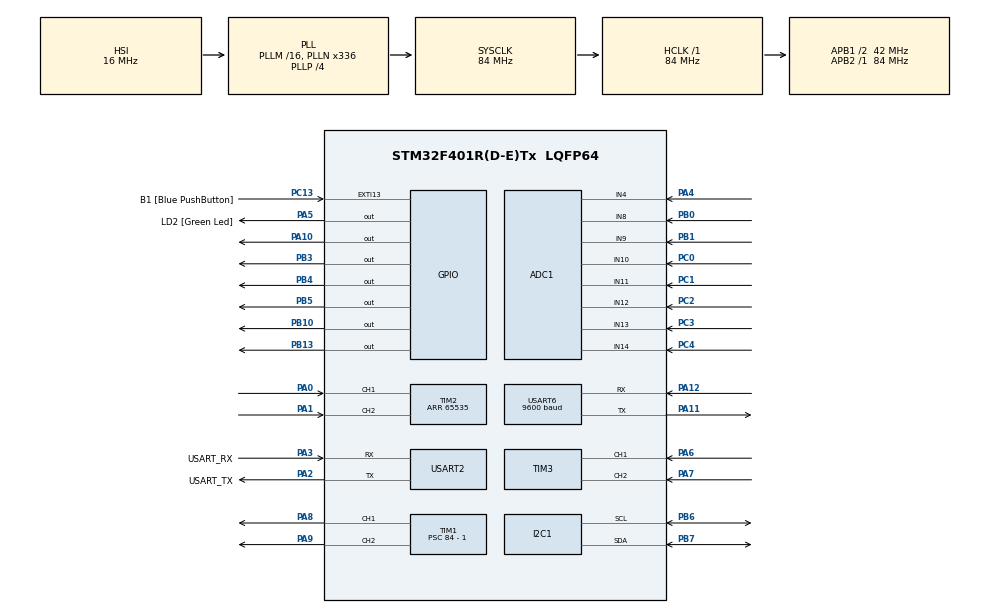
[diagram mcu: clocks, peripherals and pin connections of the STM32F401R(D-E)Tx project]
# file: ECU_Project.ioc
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ADC1.Channel-2\#ChannelRegularConversion=ADC_CHANNEL_12
ADC1.Channel-3\#ChannelRegularConversion=ADC_CHANNEL_13
ADC1.Channel-4\#ChannelRegularConversion=ADC_CHANNEL_10
ADC1.Channel-5\#ChannelRegularConversion=ADC_CHANNEL_11
ADC1.Channel-6\#ChannelRegularConversion=ADC_CHANNEL_8
ADC1.Channel-7\#ChannelRegularConversion=ADC_CHANNEL_4
ADC1.Channel-8\#ChannelRegularConversion=ADC_CHANNEL_14
ADC1.Channel-9\#ChannelRegularConversion=ADC_CHANNEL_9
ADC1.ContinuousConvMode=ENABLE
ADC1.DMAContinuousRequests=DISABLE
ADC1.DiscontinuousConvMode=DISABLE
ADC1.InjNumberOfConversion=0
ADC1.NbrOfConversion=8
ADC1.NbrOfConversionFlag=1
ADC1.Rank-2\#ChannelRegularConversion=1
ADC1.Rank-3\#ChannelRegularConversion=2
ADC1.Rank-4\#ChannelRegularConversion=3
ADC1.Rank-5\#ChannelRegularConversion=4
ADC1.Rank-6\#ChannelRegularConversion=5
ADC1.Rank-7\#ChannelRegularConversion=6
ADC1.Rank-8\#ChannelRegularConversion=7
ADC1.Rank-9\#ChannelRegularConversion=8
ADC1.SamplingTime-2\#ChannelRegularConversion=ADC_SAMPLETIME_3CYCLES
ADC1.SamplingTime-3\#ChannelRegularConversion=ADC_SAMPLETIME_3CYCLES
ADC1.SamplingTime-4\#ChannelRegularConversion=ADC_SAMPLETIME_3CYCLES
ADC1.SamplingTime-5\#ChannelRegularConversion=ADC_SAMPLETIME_3CYCLES
ADC1.SamplingTime-6\#ChannelRegularConversion=ADC_SAMPLETIME_3CYCLES
ADC1.SamplingTime-7\#ChannelRegularConversion=ADC_SAMPLETIME_3CYCLES
ADC1.SamplingTime-8\#ChannelRegularConversion=ADC_SAMPLETIME_3CYCLES
ADC1.SamplingTime-9\#ChannelRegularConversion=ADC_SAMPLETIME_3CYCLES
ADC1.ScanConvMode=ENABLE
ADC1.master=1
Dma.ADC1.0.Direction=DMA_PERIPH_TO_MEMORY
Dma.ADC1.0.FIFOMode=DMA_FIFOMODE_DISABLE
Dma.ADC1.0.Instance=DMA2_Stream0
Dma.ADC1.0.MemDataAlignment=DMA_MDATAALIGN_HALFWORD
Dma.ADC1.0.MemInc=DMA_MINC_ENABLE
Dma.ADC1.0.Mode=DMA_CIRCULAR
Dma.ADC1.0.PeriphDataAlignment=DMA_PDATAALIGN_HALFWORD
Dma.ADC1.0.PeriphInc=DMA_PINC_DISABLE
Dma.ADC1.0.Priority=DMA_PRIORITY_LOW
Dma.Request0=ADC1
FREERTOS.Tasks01=defaultTask,24,128,StartDefaultTask,Default,NULL,Dynamic,NULL,NULL
FREERTOS.configUSE_NEWLIB_REENTRANT=1
IWDG.Prescaler=IWDG_PRESCALER_32
IWDG.Reload=500
Mcu.Family=STM32F4
Mcu.Name=STM32F401R(D-E)Tx
Mcu.Package=LQFP64
NVIC.DMA2_Stream0_IRQn=true\:5\:0\:false\:false\:true\:true\:false\:true\:true
NVIC.EXTI15_10_IRQn=true\:5\:0\:false\:false\:true\:true\:true\:true\:true
NVIC.PriorityGroup=NVIC_PRIORITYGROUP_4
NVIC.TIM5_IRQn=true\:15\:0\:false\:false\:true\:false\:false\:true\:true
NVIC.TimeBase=TIM5_IRQn
NVIC.TimeBaseIP=TIM5
PA0-WKUP.Signal=S_TIM2_CH1_ETR
PA1.Signal=S_TIM2_CH2
PA10.Signal=GPIO_Output
PA11.Mode=Asynchronous
PA11.Signal=USART6_TX
PA12.Mode=Asynchronous
PA12.Signal=USART6_RX
PA13.GPIO_Label=TMS
PA13.Mode=Serial_Wire
PA13.Signal=SYS_JTMS-SWDIO
PA14.GPIO_Label=TCK
PA14.Mode=Serial_Wire
PA14.Signal=SYS_JTCK-SWCLK
PA2.GPIO_Label=USART_TX
PA2.GPIO_Mode=GPIO_MODE_AF_PP
PA2.GPIO_PuPd=GPIO_NOPULL
PA2.GPIO_Speed=GPIO_SPEED_FREQ_LOW
PA2.Mode=Asynchronous
PA2.Signal=USART2_TX
PA3.GPIO_Label=USART_RX
PA3.GPIO_Mode=GPIO_MODE_AF_PP
PA3.GPIO_PuPd=GPIO_NOPULL
PA3.GPIO_Speed=GPIO_SPEED_FREQ_LOW
PA3.Mode=Asynchronous
PA3.Signal=USART2_RX
PA4.Signal=ADCx_IN4
PA5.GPIO_Label=LD2 [Green Led]
PA5.GPIO_Mode=GPIO_MODE_OUTPUT_PP
PA5.GPIO_PuPd=GPIO_NOPULL
PA5.GPIO_Speed=GPIO_SPEED_FREQ_LOW
PA5.Signal=GPIO_Output
PA6.Signal=S_TIM3_CH1
PA7.Signal=S_TIM3_CH2
PA8.Signal=S_TIM1_CH1
PA9.Signal=S_TIM1_CH2
PB0.Signal=ADCx_IN8
PB1.Signal=ADCx_IN9
PB10.Signal=GPIO_Output
PB13.Signal=GPIO_Output
PB3.Signal=GPIO_Output
PB4.Signal=GPIO_Output
PB5.Signal=GPIO_Output
PB6.Mode=I2C
PB6.Signal=I2C1_SCL
PB7.Mode=I2C
PB7.Signal=I2C1_SDA
PC0.Signal=ADCx_IN10
PC1.Signal=ADCx_IN11
PC13-ANTI_TAMP.GPIO_Label=B1 [Blue PushButton]
PC13-ANTI_TAMP.GPIO_ModeDefaultEXTI=GPIO_MODE_IT_FALLING
PC13-ANTI_TAMP.GPIO_PuPd=GPIO_NOPULL
PC13-ANTI_TAMP.Signal=GPXTI13
PC14-OSC32_IN.Mode=LSE-External-Oscillator
PC14-OSC32_IN.Signal=RCC_OSC32_IN
PC15-OSC32_OUT.Mode=LSE-External-Oscillator
PC15-OSC32_OUT.Signal=RCC_OSC32_OUT
PC2.Signal=ADCx_IN12
PC3.Signal=ADCx_IN13
PC4.Signal=ADCx_IN14
PH0\ -\ OSC_IN.Mode=HSE-External-Oscillator
PH0\ -\ OSC_IN.Signal=RCC_OSC_IN
PH1\ -\ OSC_OUT.Mode=HSE-External-Oscillator
PH1\ -\ OSC_OUT.Signal=RCC_OSC_OUT
ProjectManager.HeapSize=0x200
ProjectManager.StackSize=0x400
ProjectManager.TargetToolchain=STM32CubeIDE
RCC.48MHZClocksFreq_Value=48000000
RCC.AHBFreq_Value=84000000
RCC.APB1CLKDivider=RCC_HCLK_DIV2
RCC.APB1Freq_Value=42000000
RCC.APB1TimFreq_Value=84000000
RCC.APB2Freq_Value=84000000
RCC.APB2TimFreq_Value=84000000
RCC.CortexFreq_Value=84000000
RCC.HCLKFreq_Value=84000000
RCC.HSE_VALUE=8000000
RCC.HSI_VALUE=16000000
RCC.PLLN=336
RCC.PLLP=RCC_PLLP_DIV4
RCC.PLLQ=7
RCC.SYSCLKFreq_VALUE=84000000
RCC.SYSCLKSource=RCC_SYSCLKSOURCE_PLLCLK
RCC.VCOOutputFreq_Value=336000000
SH.ADCx_IN10.0=ADC1_IN10,IN10
SH.ADCx_IN11.0=ADC1_IN11,IN11
SH.ADCx_IN12.0=ADC1_IN12,IN12
SH.ADCx_IN13.0=ADC1_IN13,IN13
SH.ADCx_IN14.0=ADC1_IN14,IN14
SH.ADCx_IN4.0=ADC1_IN4,IN4
SH.ADCx_IN8.0=ADC1_IN8,IN8
SH.ADCx_IN9.0=ADC1_IN9,IN9
SH.S_TIM1_CH1.0=TIM1_CH1,PWM Generation1 CH1
SH.S_TIM1_CH2.0=TIM1_CH2,PWM Generation2 CH2
SH.S_TIM2_CH1_ETR.0=TIM2_CH1,Encoder_Interface
SH.S_TIM2_CH2.0=TIM2_CH2,Encoder_Interface
SH.S_TIM3_CH1.0=TIM3_CH1,Encoder_Interface
SH.S_TIM3_CH2.0=TIM3_CH2,Encoder_Interface
TIM1.Channel-PWM\ Generation1\ CH1=TIM_CHANNEL_1
TIM1.Channel-PWM\ Generation2\ CH2=TIM_CHANNEL_2
TIM1.Period=999
TIM1.Prescaler=84 - 1
TIM2.Period=65535
USART2.VirtualMode=VM_ASYNC
USART6.BaudRate=9600
USART6.VirtualMode=VM_ASYNC
VP_FREERTOS_VS_CMSIS_V2.Mode=CMSIS_V2
VP_IWDG_VS_IWDG.Mode=IWDG_Activate
VP_SYS_VS_tim5.Mode=TIM5
VP_TIM1_VS_ClockSourceINT.Mode=Internal
board=NUCLEO-F401RE

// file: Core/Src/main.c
/* USER CODE BEGIN Header */
/**
  ******************************************************************************
  * @file           : main.c
  * @brief          : Main program body
  ******************************************************************************
  * @attention
  *
  * Copyright (c) 2026 STMicroelectronics.
  * All rights reserved.
  *
  * This software is licensed under terms that can be found in the LICENSE file
  * in the root directory of this software component.
  * If no LICENSE file comes with this software, it is provided AS-IS.
  *
  ******************************************************************************
  */
/* USER CODE END Header */
#include "main.h"
#include "cmsis_os.h"
#include "adc.h"
#include "dma.h"
#include "i2c.h"
#include "iwdg.h"
#include "tim.h"
#include "usart.h"
#include "gpio.h"

/* USER CODE BEGIN Includes */
#include "app_bsp.h"
#include "app_core.h"
/* USER CODE END Includes */

void SystemClock_Config(void);
void MX_FREERTOS_Init(void);

int main(void)
{

  /* MCU Configuration--------------------------------------------------------*/

  /* Reset of all peripherals, Initializes the Flash interface and the Systick. */
  HAL_Init();

  /* Configure the system clock */
  SystemClock_Config();

  /* Initialize all configured peripherals */
  MX_GPIO_Init();
  MX_DMA_Init();
  MX_USART2_UART_Init();
  MX_ADC1_Init();
  MX_I2C1_Init();
  MX_TIM1_Init();
  MX_TIM2_Init();
  MX_TIM3_Init();
  MX_USART6_UART_Init();
  MX_IWDG_Init();
  /* USER CODE BEGIN 2 */

  // 1. Kích hoạt Driver phần cứng thô ban đầu
  HAL_GPIO_WritePin(GPIOA, GPIO_PIN_10, GPIO_PIN_SET); //  TB6612
  HAL_GPIO_WritePin(GPIOB, GPIO_PIN_13, GPIO_PIN_SET); // Bật LED hồng ngoại QTR
  HAL_TIM_PWM_Start(&htim1, TIM_CHANNEL_1);
  HAL_TIM_PWM_Start(&htim1, TIM_CHANNEL_2);
  HAL_TIM_Encoder_Start(&htim2, TIM_CHANNEL_ALL);
  HAL_TIM_Encoder_Start(&htim3, TIM_CHANNEL_ALL);

  HAL_ADC_Start_DMA(&hadc1, (uint32_t*)adc_values, 8);
  HAL_Delay(100); // Chờ 100ms để điện áp dàn mắt hồng ngoại ổn định hoàn toàn
  // 2. Kích nổ cấu trúc luồng FreeRTOS chạy Tĩnh từ tầng App kiến trúc
  App_Core_Init();

  // 3. BẬT NHÂN ĐIỀU PHỐI HỆ ĐIỀU HÀNH FreeRTOS
  osKernelStart();
  /* USER CODE END 2 */

  /* Init scheduler */
  osKernelInitialize();

  /* Call init function for freertos objects (in cmsis_os2.c) */
  MX_FREERTOS_Init();

  /* Start scheduler */
  osKernelStart();

  /* We should never get here as control is now taken by the scheduler */

  /* Infinite loop */
  while (1)
  {

  }
}

void SystemClock_Config(void)
{
  RCC_OscInitTypeDef RCC_OscInitStruct = {0};
  RCC_ClkInitTypeDef RCC_ClkInitStruct = {0};

  /** Configure the main internal regulator output voltage
  */
  __HAL_RCC_PWR_CLK_ENABLE();
  __HAL_PWR_VOLTAGESCALING_CONFIG(PWR_REGULATOR_VOLTAGE_SCALE2);

  /** Initializes the RCC Oscillators according to the specified parameters
  * in the RCC_OscInitTypeDef structure.
  */
  RCC_OscInitStruct.OscillatorType = RCC_OSCILLATORTYPE_HSI|RCC_OSCILLATORTYPE_LSI;
  RCC_OscInitStruct.HSIState = RCC_HSI_ON;
  RCC_OscInitStruct.HSICalibrationValue = RCC_HSICALIBRATION_DEFAULT;
  RCC_OscInitStruct.LSIState = RCC_LSI_ON;
  RCC_OscInitStruct.PLL.PLLState = RCC_PLL_ON;
  RCC_OscInitStruct.PLL.PLLSource = RCC_PLLSOURCE_HSI;
  RCC_OscInitStruct.PLL.PLLM = 16;
  RCC_OscInitStruct.PLL.PLLN = 336;
  RCC_OscInitStruct.PLL.PLLP = RCC_PLLP_DIV4;
  RCC_OscInitStruct.PLL.PLLQ = 7;
  if (HAL_RCC_OscConfig(&RCC_OscInitStruct) != HAL_OK)
  {
    Error_Handler();
  }

  /** Initializes the CPU, AHB and APB buses clocks
  */
  RCC_ClkInitStruct.ClockType = RCC_CLOCKTYPE_HCLK|RCC_CLOCKTYPE_SYSCLK
                              |RCC_CLOCKTYPE_PCLK1|RCC_CLOCKTYPE_PCLK2;
  RCC_ClkInitStruct.SYSCLKSource = RCC_SYSCLKSOURCE_PLLCLK;
  RCC_ClkInitStruct.AHBCLKDivider = RCC_SYSCLK_DIV1;
  RCC_ClkInitStruct.APB1CLKDivider = RCC_HCLK_DIV2;
  RCC_ClkInitStruct.APB2CLKDivider = RCC_HCLK_DIV1;

  if (HAL_RCC_ClockConfig(&RCC_ClkInitStruct, FLASH_LATENCY_2) != HAL_OK)
  {
    Error_Handler();
  }
}

/* USER CODE BEGIN 4 */
void HAL_GPIO_EXTI_Callback(uint16_t GPIO_Pin) {
    if (GPIO_Pin == B1_Pin) {
        if (run_flag == 0) {
            HAL_GPIO_WritePin(GPIOB, GPIO_PIN_13, GPIO_PIN_SET); // Bật lại IR LED
            run_flag = 1;
            inject_error = 0;
        } else if (run_flag == 1 && inject_error == 0) {
            inject_error = 1;
        }
        HAL_GPIO_TogglePin(GPIOA, LD2_Pin);
    }
}
/* USER CODE END 4 */

void HAL_TIM_PeriodElapsedCallback(TIM_HandleTypeDef *htim)
{
  if (htim->Instance == TIM5) {
    HAL_IncTick();
  }
}

void Error_Handler(void)
{
  __disable_irq();
  while (1)
  {
  }
}
